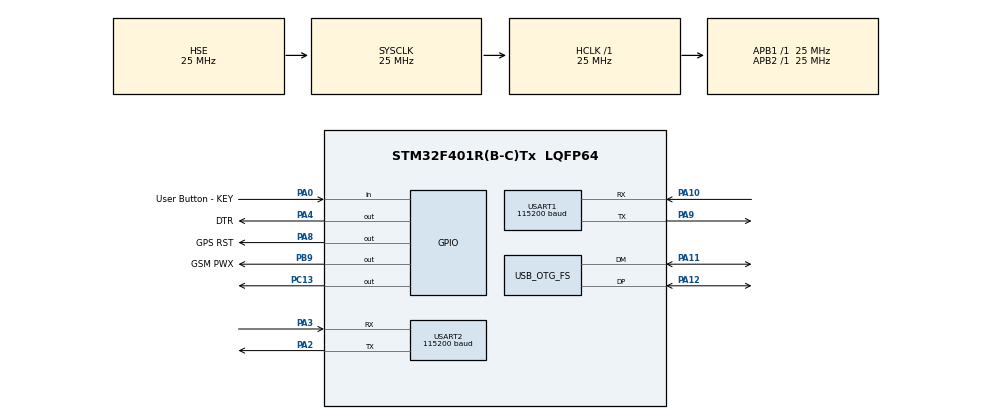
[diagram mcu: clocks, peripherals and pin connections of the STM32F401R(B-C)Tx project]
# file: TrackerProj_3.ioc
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Dma.Request0=USART1_RX
Dma.Request1=USART1_TX
Dma.Request2=USART2_RX
Dma.Request3=USART2_TX
Dma.USART1_RX.0.Direction=DMA_PERIPH_TO_MEMORY
Dma.USART1_RX.0.FIFOMode=DMA_FIFOMODE_DISABLE
Dma.USART1_RX.0.Instance=DMA2_Stream2
Dma.USART1_RX.0.MemDataAlignment=DMA_MDATAALIGN_BYTE
Dma.USART1_RX.0.MemInc=DMA_MINC_ENABLE
Dma.USART1_RX.0.Mode=DMA_NORMAL
Dma.USART1_RX.0.PeriphDataAlignment=DMA_PDATAALIGN_BYTE
Dma.USART1_RX.0.PeriphInc=DMA_PINC_DISABLE
Dma.USART1_RX.0.Priority=DMA_PRIORITY_LOW
Dma.USART1_TX.1.Direction=DMA_MEMORY_TO_PERIPH
Dma.USART1_TX.1.FIFOMode=DMA_FIFOMODE_DISABLE
Dma.USART1_TX.1.Instance=DMA2_Stream7
Dma.USART1_TX.1.MemDataAlignment=DMA_MDATAALIGN_BYTE
Dma.USART1_TX.1.MemInc=DMA_MINC_ENABLE
Dma.USART1_TX.1.Mode=DMA_NORMAL
Dma.USART1_TX.1.PeriphDataAlignment=DMA_PDATAALIGN_BYTE
Dma.USART1_TX.1.PeriphInc=DMA_PINC_DISABLE
Dma.USART1_TX.1.Priority=DMA_PRIORITY_LOW
Dma.USART2_RX.2.Direction=DMA_PERIPH_TO_MEMORY
Dma.USART2_RX.2.FIFOMode=DMA_FIFOMODE_DISABLE
Dma.USART2_RX.2.Instance=DMA1_Stream5
Dma.USART2_RX.2.MemDataAlignment=DMA_MDATAALIGN_BYTE
Dma.USART2_RX.2.MemInc=DMA_MINC_ENABLE
Dma.USART2_RX.2.Mode=DMA_NORMAL
Dma.USART2_RX.2.PeriphDataAlignment=DMA_PDATAALIGN_BYTE
Dma.USART2_RX.2.PeriphInc=DMA_PINC_DISABLE
Dma.USART2_RX.2.Priority=DMA_PRIORITY_LOW
Dma.USART2_TX.3.Direction=DMA_MEMORY_TO_PERIPH
Dma.USART2_TX.3.FIFOMode=DMA_FIFOMODE_DISABLE
Dma.USART2_TX.3.Instance=DMA1_Stream6
Dma.USART2_TX.3.MemDataAlignment=DMA_MDATAALIGN_BYTE
Dma.USART2_TX.3.MemInc=DMA_MINC_ENABLE
Dma.USART2_TX.3.Mode=DMA_NORMAL
Dma.USART2_TX.3.PeriphDataAlignment=DMA_PDATAALIGN_BYTE
Dma.USART2_TX.3.PeriphInc=DMA_PINC_DISABLE
Dma.USART2_TX.3.Priority=DMA_PRIORITY_LOW
Mcu.Family=STM32F4
Mcu.Name=STM32F401R(B-C)Tx
Mcu.Package=LQFP64
NVIC.DMA1_Stream5_IRQn=true\:0\:0\:false\:false\:true\:false\:true\:true
NVIC.DMA1_Stream6_IRQn=true\:0\:0\:false\:false\:true\:false\:true\:true
NVIC.DMA2_Stream2_IRQn=true\:0\:0\:false\:false\:true\:false\:true\:true
NVIC.DMA2_Stream7_IRQn=true\:0\:0\:false\:false\:true\:false\:true\:true
NVIC.OTG_FS_IRQn=true\:0\:0\:false\:false\:true\:false\:true\:true
NVIC.PriorityGroup=NVIC_PRIORITYGROUP_4
NVIC.TIM2_IRQn=true\:14\:0\:true\:false\:true\:true\:true\:true
NVIC.TIM3_IRQn=true\:14\:0\:true\:false\:true\:true\:true\:true
NVIC.USART1_IRQn=true\:0\:0\:false\:false\:true\:true\:true\:true
NVIC.USART2_IRQn=true\:0\:0\:false\:false\:true\:true\:true\:true
PA0-WKUP.GPIO_Label=User Button - KEY
PA0-WKUP.GPIO_PuPd=GPIO_PULLUP
PA0-WKUP.Signal=GPIO_Input
PA10.Mode=Asynchronous
PA10.Signal=USART1_RX
PA11.Mode=Device_Only
PA11.Signal=USB_OTG_FS_DM
PA12.Mode=Device_Only
PA12.Signal=USB_OTG_FS_DP
PA2.Mode=Asynchronous
PA2.Signal=USART2_TX
PA3.Mode=Asynchronous
PA3.Signal=USART2_RX
PA4.GPIO_Label=DTR
PA4.Signal=GPIO_Output
PA8.GPIO_Label=GPS RST
PA8.PinState=GPIO_PIN_SET
PA8.Signal=GPIO_Output
PA9.Mode=Asynchronous
PA9.Signal=USART1_TX
PB9.GPIO_Label=GSM PWX
PB9.PinState=GPIO_PIN_SET
PB9.Signal=GPIO_Output
PC13-ANTI_TAMP.PinState=GPIO_PIN_RESET
PC13-ANTI_TAMP.Signal=GPIO_Output
PC14-OSC32_IN.Mode=LSE-External-Oscillator
PC14-OSC32_IN.Signal=RCC_OSC32_IN
PC15-OSC32_OUT.Mode=LSE-External-Oscillator
PC15-OSC32_OUT.Signal=RCC_OSC32_OUT
PH0\ -\ OSC_IN.Mode=HSE-External-Oscillator
PH0\ -\ OSC_IN.Signal=RCC_OSC_IN
PH1\ -\ OSC_OUT.Mode=HSE-External-Oscillator
PH1\ -\ OSC_OUT.Signal=RCC_OSC_OUT
ProjectManager.HeapSize=0x200
ProjectManager.StackSize=0x400
ProjectManager.TargetToolchain=STM32CubeIDE
RCC.48MHZClocksFreq_Value=48000000
RCC.AHBFreq_Value=25000000
RCC.APB1Freq_Value=25000000
RCC.APB1TimFreq_Value=25000000
RCC.APB2Freq_Value=25000000
RCC.APB2TimFreq_Value=25000000
RCC.CortexFreq_Value=25000000
RCC.HCLKFreq_Value=25000000
RCC.HSE_VALUE=25000000
RCC.HSI_VALUE=16000000
RCC.PLLM=15
RCC.PLLN=144
RCC.PLLQ=5
RCC.SYSCLKFreq_VALUE=25000000
RCC.SYSCLKSource=RCC_SYSCLKSOURCE_HSE
RCC.VCOOutputFreq_Value=240000000
TIM2.AutoReloadPreload=TIM_AUTORELOAD_PRELOAD_DISABLE
TIM2.ClockDivision=TIM_CLOCKDIVISION_DIV1
TIM2.Period=60000000
TIM2.Prescaler=249
TIM3.AutoReloadPreload=TIM_AUTORELOAD_PRELOAD_DISABLE
TIM3.ClockDivision=TIM_CLOCKDIVISION_DIV1
TIM3.Period=62500
TIM3.Prescaler=60000
TIM3.TIM_MasterOutputTrigger=TIM_TRGO_RESET
USART1.BaudRate=115200
USART1.VirtualMode=VM_ASYNC
USART2.BaudRate=115200
USART2.VirtualMode=VM_ASYNC
USB_DEVICE.CLASS_NAME_FS=CDC
USB_DEVICE.VirtualMode=Cdc
USB_DEVICE.VirtualModeFS=Cdc_FS
USB_OTG_FS.VirtualMode=Device_Only
VP_TIM2_VS_ClockSourceINT.Mode=Internal
VP_TIM3_VS_ClockSourceINT.Mode=Internal
VP_USB_DEVICE_VS_USB_DEVICE_CDC_FS.Mode=CDC_FS
board=custom

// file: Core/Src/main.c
/* USER CODE BEGIN Header */
/**
  ******************************************************************************
  * @file           : main.c
  * @brief          : Main program body
  ******************************************************************************
  * @attention
  *
  * Copyright (c) 202
  * 4 STMicroelectronics.
  * All rights reserved.
  *
  * This software is licensed under terms that can be found in the LICENSE file
  * in the root directory of this software component.
  * If no LICENSE file comes with this software, it is provided AS-IS.
  *
  ******************************************************************************
  */
/* USER CODE END Header */
#include "main.h"
#include "usb_device.h"

/* USER CODE BEGIN Includes */
#include "usbd_cdc_if.h"
#include "tinygps.h"
#include <string.h>
#include <stdio.h>
#include "gsm.h"
/* USER CODE END Includes */

TIM_HandleTypeDef htim2;
TIM_HandleTypeDef htim3;

UART_HandleTypeDef huart1;
UART_HandleTypeDef huart2;
DMA_HandleTypeDef hdma_usart1_rx;
DMA_HandleTypeDef hdma_usart1_tx;
DMA_HandleTypeDef hdma_usart2_rx;
DMA_HandleTypeDef hdma_usart2_tx;

/* USER CODE BEGIN PV */

//GPS Variables//************************
//internal
char RX_BufferGPS[RX_BUFFER_SIZE_GPS];
uint8_t gps_sleepFlag = 0;
uint8_t GPS_encode = 0;
uint32_t GPS_timer= 0;
uint8_t GPS_StartUP = 0;

//external
extern  bool _is_gps_data_good;
//***************************************

//GSM Variables//************************
//internal
uint8_t gsm_sleepFlag = 0;
uint8_t gsm_sleepReturnFlag = 0;
char phone[20];
extern char RX_Buffer_GSM[RX_BUFFER_SIZE_GSM];
uint8_t gsm_TimerCounter = 0;
//external
extern uint8_t newMessageFlag;

//***************************************

//General Variables//********************
uint8_t LowBatFlag = 0;
uint8_t sendCoordinateFlag = 0;
uint8_t currentModeState = Mode3;
uint8_t newModeFlag = 0;
//Variables for Mode 1
float geoFenceLat = 0;
float geoFenceLong = 0;
float geoFenceSize = 100;
//Variables for Mode 2
uint32_t updatePeriod = 10*60*1000; //10 minutes
//***************************************

//Debug Variables//**********************
extern uint8_t UserRxBufferFS[APP_RX_DATA_SIZE];
uint32_t messageTIM = 0;
//uint32_t TTFF = 0;

//***************************************

/* USER CODE END PV */

void SystemClock_Config(void);
static void MX_GPIO_Init(void);
static void MX_DMA_Init(void);
static void MX_USART1_UART_Init(void);
static void MX_TIM2_Init(void);
static void MX_USART2_UART_Init(void);
static void MX_TIM3_Init(void);
/* USER CODE BEGIN PFP */
//GPS control functions//*****************************************
void gps_processNMEA(char *buffer,uint16_t length);
void gps_init();
int gps_command(uint8_t *cmd, char *response);
uint8_t get_checksum(char *cmd);
void gps_updateMode(uint8_t mode,uint16_t on, uint16_t off);
void mode_update(uint8_t newMode, float param1, float param2, float param3);
//******************************************************

/* USER CODE END PFP */

/* USER CODE BEGIN 0 */
void HAL_UARTEx_RxEventCallback(UART_HandleTypeDef *huart, uint16_t Size){

	if(huart->Instance == USART1){
		//char output[40];
		char* result = {0};
		char* coordinate = {0};
		result = strstr((char *)RX_BufferGPS,"PMTK");
		coordinate = strstr((char *)RX_BufferGPS,"RMC");
		if(((result == NULL)&&(coordinate != NULL))||(GPS_StartUP != 1)){ //Prevents command responses from being NMEA processed
			for(int i = 0; i < Size; i++ ){
				if(RX_BufferGPS[i] == '\n'){
					//if(TTFF_Flag == 1){
					//TTFF = HAL_GetTick() - TTFF;
					//TTFF = TTFF/1000;
					//snprintf(output,40,"Time=%u\r\n",(uint16_t)TTFF);
					//snprintf(output, i+2 ,"%s\r\n",RX_BufferGPS);//print gps incoming message
					//CDC_Transmit_FS((uint8_t*) output, strlen(output));
					//}
					gps_processNMEA(RX_BufferGPS, i+1);
					memset(RX_BufferGPS,0,RX_BUFFER_SIZE_GPS);
				}
			}
		}
		HAL_UARTEx_ReceiveToIdle_DMA(&huart1,(uint8_t *) RX_BufferGPS, RX_BUFFER_SIZE_GPS);
	}

	if(huart->Instance == USART2){

			char *result = {0};
			result =strstr(RX_Buffer_GSM,"+CMTI:"); //strstr function searches for 1st occurrence of the substring in the main string

			if(result != NULL){ //check for a new message notification
			 newMessageFlag = 1;
			 messageTIM = HAL_GetTick();
			}
			HAL_UARTEx_ReceiveToIdle_DMA(&huart2,(uint8_t*)RX_Buffer_GSM, RX_BUFFER_SIZE_GSM);
		}
}

void HAL_TIM_PeriodElapsedCallback(TIM_HandleTypeDef *htim){ //GPS 10 minute status check

	if(newMessageFlag == 0){

	if(htim->Instance == TIM2){//GPS maintenance
		char output[] = "GPS Status Check:\r\n";
		CDC_Transmit_FS((uint8_t *)output, strlen(output));
			  if(gps_sleepFlag == 1 ){
				  gps_updateMode(1,0,0); //Message wakes up the gps module
				  HAL_Delay(50);
			  }

			  if (gps_command((uint8_t *)gps_Test, "PMTK001,0,3") == GpsError){//Double error check
				  if(gps_command((uint8_t *)gps_Test,"PMTK001,0,3") != Gpsok){
				  				  gps_init(); //reset and initialize
				  			  }
			  }

			  if(gps_sleepFlag == 1){ //return to sleep mode
				  gps_updateMode(3,10000,30000);
			  }
	}

	if(htim->Instance == TIM3){//GSM maintenance

		if(gsm_TimerCounter == 4){ //Set to be called every 2.5 minutes
			gsm_TimerCounter = 0;
		char output[] = "GSM Status Check:\r\n";
		CDC_Transmit_FS((uint8_t *)output, strlen(output));

			if(gsm_sleepFlag == 1){
				HAL_GPIO_WritePin(GPIOA, GPIO_PIN_4, 0);//Wake up SIM800C
				gsm_sleepFlag = 0;
				gsm_sleepReturnFlag = 1;
				HAL_Delay(250);
			}

			if(gsm_init() == GsmError){//Check if startup failed then therefore device is off (Evaluates proper running and if not resets device)
				gsm_init(); //turn the device back on
			}

			if(gsm_batteryCheck() == 0){
				//gsm_sendSMS("Battery Low");
				//mode_update(Mode4,0,0,0);
				LowBatFlag = 1; // Sets system to mode 4
			}

			if((gsm_sleepFlag == 0)&&(gsm_sleepReturnFlag == 1)){
				HAL_GPIO_WritePin(GPIOA, GPIO_PIN_4, 1);//Sleep GSM
			}
		}
		else{
			gsm_TimerCounter++;
		}

	}
	}

}

/* USER CODE END 0 */

int main(void)
{

  /* MCU Configuration--------------------------------------------------------*/

  /* Reset of all peripherals, Initializes the Flash interface and the Systick. */
  HAL_Init();

  /* Configure the system clock */
  SystemClock_Config();

  /* Initialize all configured peripherals */
  MX_GPIO_Init();
  MX_DMA_Init();
  MX_USART1_UART_Init();
  MX_USB_DEVICE_Init();
  MX_TIM2_Init();
  MX_USART2_UART_Init();
  MX_TIM3_Init();
  /* USER CODE BEGIN 2 */
  HAL_Delay(500);

  gsm_init();
  HAL_TIM_Base_Start_IT(&htim3); //GSM check tim

  HAL_Delay(500);

  GPS_StartUP = 1;
  gps_init();
  HAL_TIM_Base_Start_IT(&htim2);//GPS check timer
  GPS_StartUP = 0;

  HAL_Delay(500);

  GPS_timer= HAL_GetTick();

  //gsm_sendSMS("Hello World");
  snprintf(phone,strlen(MY_PHONE)+1,"%s",MY_PHONE);

  float latitude = 0;
  float longitude = 0;
  unsigned long fixAgeGPS = 0;

  uint32_t mode2Timer = 0;

  /* USER CODE END 2 */

  /* Infinite loop */
  /* USER CODE BEGIN WHILE */
  while (1)
  {
	  //GPS Data code//****************************************************************
		  if(GPS_encode == 1){
			  if(_is_gps_data_good){ // update current coordinates if data is good
			  	  gps_f_get_position(&latitude, &longitude,&fixAgeGPS );
			  	  //char output[50];
			  	  //snprintf(output, sizeof(output),"Latitude: %.6f, Longitude: %.6f \r\n",latitude,longitude);
		 		  //CDC_Transmit_FS((uint8_t *)output, strlen(output));
			  	  GPS_timer= HAL_GetTick();
		 		  GPS_encode = 0;
		 	  }
		  else{
			  //char output[25];
			  //snprintf(output, sizeof(output),"GPS data is not good\r\n");
			  //CDC_Transmit_FS((uint8_t *)output, strlen(output));
			  GPS_encode = 0;
		  	  }

		  }
		  //**************************************************************************

		  //MISC//********************************************************************
		  if(newMessageFlag == 1){ //Handle new message received
			  if(gsm_sleepFlag == 1){//Ensure module is awake
			  		HAL_GPIO_WritePin(GPIOA, GPIO_PIN_4, 0);//Wake up SIM800C
			  		HAL_Delay(250);
			  		gsm_sleepFlag = 0;
			  		gsm_sleepReturnFlag = 1;
			  		}

			  gsm_readSMS();
			  gsm_sendCommand(ClearMemory,"OK\r\n");

			  if(gsm_sleepReturnFlag == 1){
				  HAL_GPIO_WritePin(GPIOA, GPIO_PIN_4, 1);//SIm800C Sleep
				  gsm_sleepFlag = 1;
				  gsm_sleepReturnFlag = 0;
			  }

			  newMessageFlag = 0;
		  }

		  if(sendCoordinateFlag == 1){ //Send location pin to user (uses most recent 'good' location data.
			  	  gsm_sendLocation(latitude, longitude);
			  	  CDC_Transmit_FS((uint8_t *)Location_Sent,strlen(Location_Sent) );
		  		  sendCoordinateFlag = 0;
		  	  }

		  if(LowBatFlag == 1){
			  currentModeState = Mode4;
			  newModeFlag = 1;
		  }
		  //**************************************************************************

		  //State Machine code//******************************************************
		   switch(currentModeState){

		   	   case(Mode1):

				 if(newModeFlag == 1){//Set new mode parameters
					 gsm_sendSMS("Mode 1 Set");
				   	 gsm_sendCommand("AT+CSCLK=1\r\n","OK\r\n");
				   	 HAL_GPIO_WritePin(GPIOA, GPIO_PIN_4, 1);//set sleep mode
				   	 gps_updateMode(3,1000,3000); //Period
					 CDC_Transmit_FS((uint8_t*)"GPS IDLE & GSM SLEEP SET\r\n",26);
				   	 gsm_sleepFlag = 1;
				   	 gps_sleepFlag = 1;
				   	 newModeFlag = 0;
				 }

				if(((gps_distance_between(latitude, longitude, geoFenceLat, geoFenceLong) - geoFenceSize) > 0) && ((longitude != 0) || (latitude != 0))){
					 HAL_GPIO_WritePin(GPIOA, GPIO_PIN_4, 0);//Wake up SIM800C
					 HAL_Delay(250);
					 gsm_sleepFlag = 0;
					 gsm_sendSMS("GEO-Fence breached!\r\n");
					 gsm_sendLocation(latitude, longitude);
					 mode_update(Mode2,5,0,0);
				 }
		   	   	   //currentModeState = Mode1;

		   	   	 break;

		   	   case(Mode2):
					if((HAL_GetTick() - mode2Timer) > updatePeriod){
						if(gsm_sleepFlag == 1){
							HAL_GPIO_WritePin(GPIOA, GPIO_PIN_4, 0);//Wake up SIM800C
							gsm_sleepFlag = 0;
							gsm_sleepReturnFlag = 1;
							HAL_Delay(100);
						}

						gsm_sendLocation(latitude, longitude);
						mode2Timer = HAL_GetTick();

			    if(gsm_sleepReturnFlag == 1){
			    	HAL_GPIO_WritePin(GPIOA, GPIO_PIN_4, 1);//set sleep SIM800C
			    	gsm_sleepFlag = 1;
					gsm_sleepReturnFlag = 1;
			    	}
					}

		   	   if(newModeFlag == 1){//Set new mode parameters
		   		   gsm_sendSMS("Mode 2 Set");
		   		   gsm_sendCommand("AT+CSCLK=1\r\n","OK\r\n");
		   		   HAL_GPIO_WritePin(GPIOA, GPIO_PIN_4, 1);//set sleep mode
		   		   gps_updateMode(3,1000,3000); //Period
		   		   CDC_Transmit_FS((uint8_t*)"GPS IDLE & GSM SLEEP SET\r\n",26);
		   		   gsm_sleepFlag = 1;
		   		   gps_sleepFlag = 1;
		   		   newModeFlag = 0;
		   	   }
		   	   //currentModeState = Mode2;

		   	   break;

		   	   case(Mode3):
	  			  currentModeState = Mode3;

		   	   if(newModeFlag == 1){
		   		   HAL_GPIO_WritePin(GPIOA, GPIO_PIN_4, 0);//turn off sleep mode
		   		   HAL_Delay(250);
		   		   gsm_sendCommand("AT+CSCLK=0","OK");
		   		   HAL_Delay(100);
		   		   gsm_sendSMS("Mode 3 Set");
		   		   gps_updateMode(1,0,0); //Period
		   		   HAL_Delay(100);
		   		   newModeFlag = 0;
		   		   gsm_sleepFlag = 0;
		   		   gps_sleepFlag = 0;
		   	   }

		   	   break;

		   	   case(Mode4)://Low power mode GPS remains in standby and GSM stays in sleep unless message is received
					currentModeState = Mode4;

		   	   if(newModeFlag == 1){
		   		   HAL_GPIO_WritePin(GPIOA, GPIO_PIN_4, 0);//Wake up SIM800C
		   		   HAL_Delay(250);
		   		   gsm_sendSMS("Mode 4 Set");
		   		   gps_updateMode(2,0,0);
		   		   gsm_sendCommand("AT+CSCLK=1\r\n","OK\r\n");
		   		   HAL_GPIO_WritePin(GPIOA, GPIO_PIN_4, 1);//turn on sleep mode
		   		   newModeFlag = 0;
		   		   gsm_sleepFlag = 1;
		   		   gps_sleepFlag = 1;
		   	   }

		   }

		  //**************************************************************************

		      if(UserRxBufferFS[0] == '1'){
		    	  gps_command((uint8_t *) gps_Test, "PMTK001,0,3");
		    	  gps_sleepFlag = 0;
		 		  memset(UserRxBufferFS,'\0',strlen((char *)UserRxBufferFS));
		 	  }

		 	  else if(UserRxBufferFS[0] == '2'){
		 		 gps_updateMode(3,10000,30000);
		 		 gps_sleepFlag = 1;
		 		  memset(UserRxBufferFS,'\0',strlen((char *)UserRxBufferFS));
		 	  }

		 	  else if(UserRxBufferFS[0] == '3'){
		 		  uint8_t TEST[] = "$PMTK000*32\r\n"; //Message wakes up the gps module
		 		   gps_command(TEST,"PMTK001,0,3");
		 		   HAL_Delay(5000);
		 		  gps_command((uint8_t *) LOW_UPDATE_RATE, "PMTK001,220,3");
		 		   memset(UserRxBufferFS,'\0',strlen((char *)UserRxBufferFS));
		 	  }

		 	  else if(UserRxBufferFS[0] == '4'){
		 		  uint8_t rmcCommand[] = "$PMTK161,0*28\r\n"; //enable sleep mode only
		 		  	gps_command(rmcCommand, "PMTK001,161,3");
		 		  	gps_sleepFlag = 1;
		 		  memset(UserRxBufferFS,'\0',strlen((char *)UserRxBufferFS));
		 	  }

		 	 else if(UserRxBufferFS[0] == '5'){
		 		 	 gps_updateMode(3,15000,30000);
		 			 memset(UserRxBufferFS,'\0',strlen((char *)UserRxBufferFS));
		 			 }

		 	else if(UserRxBufferFS[0] == '6'){
		 		char url[100];
		 				gsm_sendCommand("AT+SAPBR=3,1,\"Contype\",\"GPRS\"\r\n","OK\r\n");
		 				gsm_sendCommand("AT+SAPBR=3,1,\"APN\",\"CMNET\"\r\n","OK\r\n");
		 				gsm_sendCommand("AT+SAPBR=1,1\r\n","OK\r\n");
		 				if (gsm_sendCommand("AT+SAPBR=2,1\r\n","OK\r\n") == Gsmok){ //Network connection secured?
		 				gsm_sendCommand("AT+CLBSCFG=0,1\r\n","OK\r\n");
		 				gsm_sendCommand("AT+CLBSCFG=0,2\r\n","OK\r\n");
		 				gsm_sendCommand("AT+CLBSCFG=1,3,\"lbs-simcom.com:3002\"\r\n","OK\r\n");
		 				HAL_Delay(100);

		 				if (gsm_sendCommand("AT+CLBS=1,1\r\n","OK\r\n") == Gsmok){ //Location returned?
		 				//char *token = NULL;
		 					char *messageCopy = NULL;
		 					size_t length = strlen(RX_Buffer_GSM);
		 					char *token1 = NULL;
		 					char *token2 = NULL;

		 					messageCopy = (char *)malloc(length);
		 					strncpy(messageCopy, RX_Buffer_GSM, length);
		 					messageCopy[length + 1 ] = '\0';
		 					memset(RX_Buffer_GSM,'\0', length); //clear
		 					token1 = strtok(messageCopy, ","); //function splits up the string.
		 					token1 = strtok(NULL, ","); //longitude
		 					token2 = strtok(NULL, ","); //latitude
		 					free(messageCopy);
		 					snprintf(url, sizeof(url),"LBS: Latitude:%s, Longitude:%s",token2,token1);
		 					CDC_Transmit_FS((uint8_t*) url, strlen(url));
		 				}

		 				else{
		 					//snprintf(url, sizeof(url),"No Location Available"); //Send if Network location fails

		 					}
		 				//gsm_sendSMS(url);
		 			}
		 				gsm_sendCommand("AT+SAPBR=0,1\r\n","OK\r\n");

		 			 	memset(UserRxBufferFS,'\0',strlen((char *)UserRxBufferFS));
		 			 }
		 	else if(UserRxBufferFS[0] == '7'){
		 		 	 gsm_sendCommand(test,"OK\r\n");
		 		 	 memset(UserRxBufferFS,'\0',strlen((char *)UserRxBufferFS));
		 	}

		 	else if(UserRxBufferFS[0] == '8'){
		 			gsm_sendSMS("Hello World");
		 			memset(UserRxBufferFS,'\0',strlen((char *)UserRxBufferFS));
		 	}

		 	else if(UserRxBufferFS[0] == '9'){
		 			HAL_GPIO_WritePin(GPIOB, GPIO_PIN_9, 0);
		 			HAL_Delay(2000);
		 			HAL_GPIO_WritePin(GPIOB, GPIO_PIN_9, 1);
		 			memset(UserRxBufferFS,'\0',strlen((char *)UserRxBufferFS));
		 	}

    /* USER CODE END WHILE */

  }
}

void SystemClock_Config(void)
{
  RCC_OscInitTypeDef RCC_OscInitStruct = {0};
  RCC_ClkInitTypeDef RCC_ClkInitStruct = {0};

  /** Configure the main internal regulator output voltage
  */
  __HAL_RCC_PWR_CLK_ENABLE();
  __HAL_PWR_VOLTAGESCALING_CONFIG(PWR_REGULATOR_VOLTAGE_SCALE2);

  /** Initializes the RCC Oscillators according to the specified parameters
  * in the RCC_OscInitTypeDef structure.
  */
  RCC_OscInitStruct.OscillatorType = RCC_OSCILLATORTYPE_HSE;
  RCC_OscInitStruct.HSEState = RCC_HSE_ON;
  RCC_OscInitStruct.PLL.PLLState = RCC_PLL_ON;
  RCC_OscInitStruct.PLL.PLLSource = RCC_PLLSOURCE_HSE;
  RCC_OscInitStruct.PLL.PLLM = 15;
  RCC_OscInitStruct.PLL.PLLN = 144;
  RCC_OscInitStruct.PLL.PLLP = RCC_PLLP_DIV2;
  RCC_OscInitStruct.PLL.PLLQ = 5;
  if (HAL_RCC_OscConfig(&RCC_OscInitStruct) != HAL_OK)
  {
    Error_Handler();
  }

  /** Initializes the CPU, AHB and APB buses clocks
  */
  RCC_ClkInitStruct.ClockType = RCC_CLOCKTYPE_HCLK|RCC_CLOCKTYPE_SYSCLK
                              |RCC_CLOCKTYPE_PCLK1|RCC_CLOCKTYPE_PCLK2;
  RCC_ClkInitStruct.SYSCLKSource = RCC_SYSCLKSOURCE_HSE;
  RCC_ClkInitStruct.AHBCLKDivider = RCC_SYSCLK_DIV1;
  RCC_ClkInitStruct.APB1CLKDivider = RCC_HCLK_DIV1;
  RCC_ClkInitStruct.APB2CLKDivider = RCC_HCLK_DIV1;

  if (HAL_RCC_ClockConfig(&RCC_ClkInitStruct, FLASH_LATENCY_0) != HAL_OK)
  {
    Error_Handler();
  }
}

static void MX_TIM2_Init(void)
{

  TIM_ClockConfigTypeDef sClockSourceConfig = {0};
  TIM_MasterConfigTypeDef sMasterConfig = {0};

  htim2.Instance = TIM2;
  htim2.Init.Prescaler = 249;
  htim2.Init.CounterMode = TIM_COUNTERMODE_UP;
  htim2.Init.Period = 60000000;
  htim2.Init.ClockDivision = TIM_CLOCKDIVISION_DIV1;
  htim2.Init.AutoReloadPreload = TIM_AUTORELOAD_PRELOAD_DISABLE;
  if (HAL_TIM_Base_Init(&htim2) != HAL_OK)
  {
    Error_Handler();
  }
  sClockSourceConfig.ClockSource = TIM_CLOCKSOURCE_INTERNAL;
  if (HAL_TIM_ConfigClockSource(&htim2, &sClockSourceConfig) != HAL_OK)
  {
    Error_Handler();
  }
  sMasterConfig.MasterOutputTrigger = TIM_TRGO_RESET;
  sMasterConfig.MasterSlaveMode = TIM_MASTERSLAVEMODE_DISABLE;
  if (HAL_TIMEx_MasterConfigSynchronization(&htim2, &sMasterConfig) != HAL_OK)
  {
    Error_Handler();
  }

}

static void MX_TIM3_Init(void)
{

  TIM_ClockConfigTypeDef sClockSourceConfig = {0};
  TIM_MasterConfigTypeDef sMasterConfig = {0};

  htim3.Instance = TIM3;
  htim3.Init.Prescaler = 60000;
  htim3.Init.CounterMode = TIM_COUNTERMODE_UP;
  htim3.Init.Period = 62500;
  htim3.Init.ClockDivision = TIM_CLOCKDIVISION_DIV1;
  htim3.Init.AutoReloadPreload = TIM_AUTORELOAD_PRELOAD_DISABLE;
  if (HAL_TIM_Base_Init(&htim3) != HAL_OK)
  {
    Error_Handler();
  }
  sClockSourceConfig.ClockSource = TIM_CLOCKSOURCE_INTERNAL;
  if (HAL_TIM_ConfigClockSource(&htim3, &sClockSourceConfig) != HAL_OK)
  {
    Error_Handler();
  }
  sMasterConfig.MasterOutputTrigger = TIM_TRGO_RESET;
  sMasterConfig.MasterSlaveMode = TIM_MASTERSLAVEMODE_DISABLE;
  if (HAL_TIMEx_MasterConfigSynchronization(&htim3, &sMasterConfig) != HAL_OK)
  {
    Error_Handler();
  }

}

static void MX_USART1_UART_Init(void)
{

  huart1.Instance = USART1;
  huart1.Init.BaudRate = 115200;
  huart1.Init.WordLength = UART_WORDLENGTH_8B;
  huart1.Init.StopBits = UART_STOPBITS_1;
  huart1.Init.Parity = UART_PARITY_NONE;
  huart1.Init.Mode = UART_MODE_TX_RX;
  huart1.Init.HwFlowCtl = UART_HWCONTROL_NONE;
  huart1.Init.OverSampling = UART_OVERSAMPLING_16;
  if (HAL_UART_Init(&huart1) != HAL_OK)
  {
    Error_Handler();
  }

}

static void MX_USART2_UART_Init(void)
{

  huart2.Instance = USART2;
  huart2.Init.BaudRate = 115200;
  huart2.Init.WordLength = UART_WORDLENGTH_8B;
  huart2.Init.StopBits = UART_STOPBITS_1;
  huart2.Init.Parity = UART_PARITY_NONE;
  huart2.Init.Mode = UART_MODE_TX_RX;
  huart2.Init.HwFlowCtl = UART_HWCONTROL_NONE;
  huart2.Init.OverSampling = UART_OVERSAMPLING_16;
  if (HAL_UART_Init(&huart2) != HAL_OK)
  {
    Error_Handler();
  }

}

static void MX_DMA_Init(void)
{

  /* DMA controller clock enable */
  __HAL_RCC_DMA2_CLK_ENABLE();
  __HAL_RCC_DMA1_CLK_ENABLE();

  /* DMA interrupt init */
  /* DMA1_Stream5_IRQn interrupt configuration */
  HAL_NVIC_SetPriority(DMA1_Stream5_IRQn, 0, 0);
  HAL_NVIC_EnableIRQ(DMA1_Stream5_IRQn);
  /* DMA1_Stream6_IRQn interrupt configuration */
  HAL_NVIC_SetPriority(DMA1_Stream6_IRQn, 0, 0);
  HAL_NVIC_EnableIRQ(DMA1_Stream6_IRQn);
  /* DMA2_Stream2_IRQn interrupt configuration */
  HAL_NVIC_SetPriority(DMA2_Stream2_IRQn, 0, 0);
  HAL_NVIC_EnableIRQ(DMA2_Stream2_IRQn);
  /* DMA2_Stream7_IRQn interrupt configuration */
  HAL_NVIC_SetPriority(DMA2_Stream7_IRQn, 0, 0);
  HAL_NVIC_EnableIRQ(DMA2_Stream7_IRQn);

}

static void MX_GPIO_Init(void)
{
  GPIO_InitTypeDef GPIO_InitStruct = {0};

  /* GPIO Ports Clock Enable */
  __HAL_RCC_GPIOC_CLK_ENABLE();
  __HAL_RCC_GPIOH_CLK_ENABLE();
  __HAL_RCC_GPIOA_CLK_ENABLE();
  __HAL_RCC_GPIOB_CLK_ENABLE();

  /*Configure GPIO pin Output Level */
  HAL_GPIO_WritePin(GPIOC, GPIO_PIN_13, GPIO_PIN_RESET);

  /*Configure GPIO pin Output Level */
  HAL_GPIO_WritePin(DTR_GPIO_Port, DTR_Pin, GPIO_PIN_RESET);

  /*Configure GPIO pin Output Level */
  HAL_GPIO_WritePin(GPS_RST_GPIO_Port, GPS_RST_Pin, GPIO_PIN_SET);

  /*Configure GPIO pin Output Level */
  HAL_GPIO_WritePin(GSM_PWX_GPIO_Port, GSM_PWX_Pin, GPIO_PIN_SET);

  /*Configure GPIO pin : PC13 */
  GPIO_InitStruct.Pin = GPIO_PIN_13;
  GPIO_InitStruct.Mode = GPIO_MODE_OUTPUT_PP;
  GPIO_InitStruct.Pull = GPIO_NOPULL;
  GPIO_InitStruct.Speed = GPIO_SPEED_FREQ_LOW;
  HAL_GPIO_Init(GPIOC, &GPIO_InitStruct);

  /*Configure GPIO pin : User_Button___KEY_Pin */
  GPIO_InitStruct.Pin = User_Button___KEY_Pin;
  GPIO_InitStruct.Mode = GPIO_MODE_INPUT;
  GPIO_InitStruct.Pull = GPIO_PULLUP;
  HAL_GPIO_Init(User_Button___KEY_GPIO_Port, &GPIO_InitStruct);

  /*Configure GPIO pins : DTR_Pin GPS_RST_Pin */
  GPIO_InitStruct.Pin = DTR_Pin|GPS_RST_Pin;
  GPIO_InitStruct.Mode = GPIO_MODE_OUTPUT_PP;
  GPIO_InitStruct.Pull = GPIO_NOPULL;
  GPIO_InitStruct.Speed = GPIO_SPEED_FREQ_LOW;
  HAL_GPIO_Init(GPIOA, &GPIO_InitStruct);

  /*Configure GPIO pin : GSM_PWX_Pin */
  GPIO_InitStruct.Pin = GSM_PWX_Pin;
  GPIO_InitStruct.Mode = GPIO_MODE_OUTPUT_PP;
  GPIO_InitStruct.Pull = GPIO_NOPULL;
  GPIO_InitStruct.Speed = GPIO_SPEED_FREQ_LOW;
  HAL_GPIO_Init(GSM_PWX_GPIO_Port, &GPIO_InitStruct);

}

/* USER CODE BEGIN 4 */
void gps_processNMEA(char *buffer,uint16_t length){ //parse full message to gps encode

	for(int j = 0; j<(length); j++){
		if (gps_encode(buffer[j])){
			GPS_encode = 1;  //Get GPS information
		}
		}
	}

void gps_init(){
	HAL_UARTEx_ReceiveToIdle_DMA(&huart1,(uint8_t *) RX_BufferGPS, RX_BUFFER_SIZE_GPS);

	if(gps_command((uint8_t *) gps_Test, "PMTK001,0,3") != Gpsok){ //hard reset
				HAL_GPIO_WritePin(GPIOA,GPIO_PIN_8,0);
				HAL_Delay(1000);
				HAL_GPIO_WritePin(GPIOA,GPIO_PIN_8,1);
			}
	//TTFF = HAL_GetTick();

	//gps_command((uint8_t *) gps_FullPower, "PMTK001,225,0,3");//Returns a different message

	HAL_Delay(200);

	uint8_t baudRateGPS[] = "$PMTK251,115200*1F\r\n"; //set UART baud rate to 9600
	gps_command(baudRateGPS,"PMTK001,251,3");

	HAL_Delay(200);

	//set update position report to every 10 seconds (works)
	gps_command((uint8_t *) LOW_UPDATE_RATE, "PMTK001,220,3");

	HAL_Delay(200);

	uint8_t rmcCommand[] = "$PMTK314,0,1,0,0,0,0,0,0,0,0,0,0,0,0,0,0,0,0,0*29\r\n"; //enable RMC mode only
	gps_command(rmcCommand, "PMTK001,314,3");

}

int gps_command(uint8_t *cmd, char *response) //Send Commands to GPS and check response
{
	HAL_UART_Transmit_DMA(&huart1, (uint8_t *) cmd, strlen((char *)cmd));

    CDC_Transmit_FS((uint8_t *)cmd,  strlen((char *)cmd));

    char *P = NULL;
    char *Failed = NULL;
    uint32_t GPS_timer2 = HAL_GetTick();

    while(*P != response[0]){
    	P = strstr(RX_BufferGPS, response);
    	Failed = strstr(RX_BufferGPS, ",2*");
    	Failed = strstr(RX_BufferGPS, ",1*");
    	Failed = strstr(RX_BufferGPS, ",0*");

    	if((HAL_GetTick() - GPS_timer2) > 2000){ //2s time-out error
    		memset(RX_BufferGPS, 0, RX_BUFFER_SIZE_GPS);
    		CDC_Transmit_FS((uint8_t *)"Time Out Error\r\n", 15); //debug terminal
    		HAL_UARTEx_ReceiveToIdle_DMA(&huart1,(uint8_t *) RX_BufferGPS, RX_BUFFER_SIZE_GPS);
    		return GpsError;
    	}

    	if(Failed != NULL){
    		memset(RX_BufferGPS, 0, RX_BUFFER_SIZE_GPS);
    		CDC_Transmit_FS((uint8_t *)"Failed\r\n", 15); //debug terminal
    		HAL_UARTEx_ReceiveToIdle_DMA(&huart1,(uint8_t *) RX_BufferGPS, RX_BUFFER_SIZE_GPS);
    		return GpsError;
    	}

    }

    memset(RX_BufferGPS, 0, RX_BUFFER_SIZE_GPS);
    CDC_Transmit_FS((uint8_t *)response,  strlen(response));
	HAL_UARTEx_ReceiveToIdle_DMA(&huart1,(uint8_t *) RX_BufferGPS, RX_BUFFER_SIZE_GPS);
	return Gpsok;
}

void gps_updateMode(uint8_t mode,uint16_t on, uint16_t off){ // implement mode changes from messages or timing
	switch(mode){
	case(1): //Full power continuous mode
	        gps_command((uint8_t *)gps_Test,"PMTK001,0,3");
			gps_command((uint8_t *)gps_FullPower, "PMTK001,220,3");
	        HAL_Delay(1000);
			gps_command((uint8_t *)LOW_UPDATE_RATE, "PMTK001,220,3");
			break;
	case(2): //Standby low power mode
			uint8_t cmd2[] = "$PMTK161,0*28";
			gps_command(cmd2,"PMTK001,161,3");
			break;
	case(3): //Periodic on/off mode -> need to implement a function that handles timing length changes (maybe use presets)
			if((on < 65536) && (off < 65536)){//check under max limit
			char cmd3[60] = {0};
			snprintf(cmd3,sizeof(cmd3) ,"$PMTK225,2,%u,%u,%u,%d*", on, off, on, off);
			uint8_t checksum = get_checksum(cmd3);
			char finalcmd3[70] = {0};
			snprintf(finalcmd3, sizeof(finalcmd3),"%s%X\r\n",cmd3,checksum);
			gps_command((uint8_t *)HIGH_UPDATE_RATE,"PMTK001,220,3");
			gps_command((uint8_t *)finalcmd3,"PMTK001,225,3");
			}
			break;
	case(4): //Standby mode -> deep power saving need to implement wake up pin

			break;
	case(5): //Always locate mode: advanced adaptive power periodic mode
			uint8_t cmd5[] = "$PMKT225,8*23";//Always locate standby
			gps_command(cmd5,"$PMKT001,225,3");
			break;
	}

}

uint8_t get_checksum(char *cmd){ // determines checksum of command and returns .
	uint8_t checksum = 0;
	for(int j = 0; j < strlen((char *)cmd)+1; j++){
		if(cmd[j] == '*' ){
			return(checksum);
		}
		else if(cmd[j]!= '$'){
			checksum ^= cmd[j];
		}
	}
	return(0);
}

void mode_update(uint8_t newMode, float param1, float param2, float param3){

	if(newMode == Mode1){ //update Mode parameters
		geoFenceLat = param1;
		geoFenceLong = param2;
		geoFenceSize = param3 + 10; //added tolerance in m

		if(currentModeState != Mode1){//If not currently in mode switch to new mode.
			currentModeState = Mode1;
			newModeFlag = 1;
		}
	}

	if(newMode == Mode2){
		updatePeriod = (uint32_t)param1*60*1000;//Set to minutes
		if(updatePeriod == 0){
			updatePeriod = 10;
		}

		if(currentModeState != Mode2){
			currentModeState = Mode2;
			newModeFlag = 1;
		}
	}

	if(newMode == Mode3){

		if(currentModeState != Mode3){
			currentModeState = Mode3;
			newModeFlag = 1;
		}

	}

	if(newMode == Mode4){
		if(currentModeState != Mode4){
			currentModeState = Mode4;
			newModeFlag = 1;
			}
	}
}

/* USER CODE END 4 */

void Error_Handler(void)
{
  __disable_irq();
  while (1)
  {
  }
}
